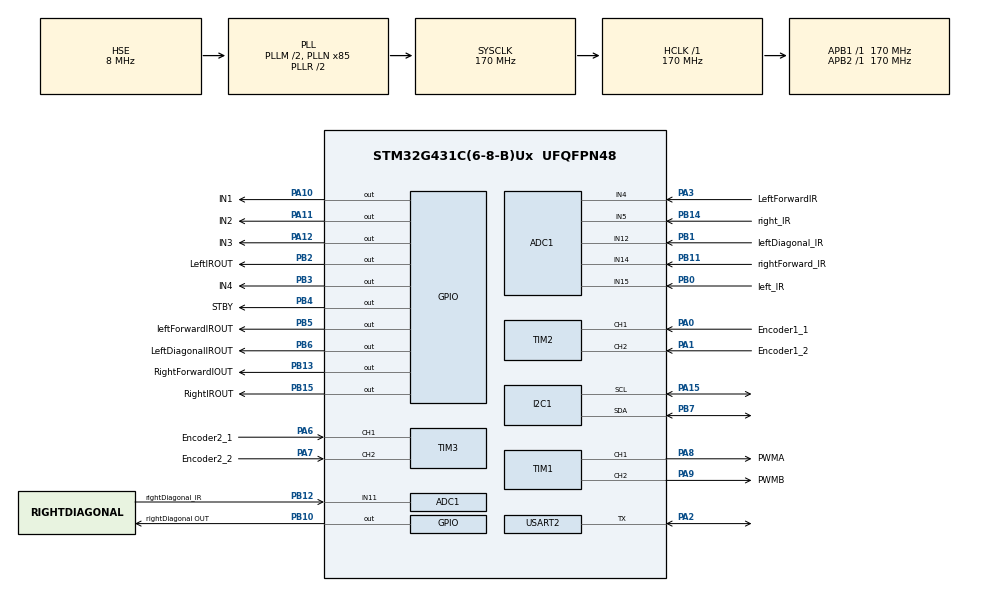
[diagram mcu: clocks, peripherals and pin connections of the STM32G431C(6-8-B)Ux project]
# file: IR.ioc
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ADC1.Channel-0\#ChannelRegularConversion=ADC_CHANNEL_12
ADC1.NbrOfConversionFlag=1
ADC1.OffsetNumber-0\#ChannelRegularConversion=ADC_OFFSET_NONE
ADC1.Rank-0\#ChannelRegularConversion=1
ADC1.SamplingTime-0\#ChannelRegularConversion=ADC_SAMPLETIME_47CYCLES_5
ADC1.master=1
I2C1.Timing=0x40B285C2
Mcu.Family=STM32G4
Mcu.Name=STM32G431C(6-8-B)Ux
Mcu.Package=UFQFPN48
NVIC.PriorityGroup=NVIC_PRIORITYGROUP_4
NVIC.TIM6_DAC_IRQn=true\:0\:0\:false\:false\:true\:true\:true\:true
PA0.GPIO_Label=Encoder1_1
PA0.Signal=S_TIM2_CH1
PA1.GPIO_Label=Encoder1_2
PA1.Signal=S_TIM2_CH2
PA10.GPIO_Label=IN1
PA10.Signal=GPIO_Output
PA11.GPIO_Label=IN2
PA11.Signal=GPIO_Output
PA12.GPIO_Label=IN3
PA12.Signal=GPIO_Output
PA13.Mode=Serial_Wire
PA13.Signal=SYS_JTMS-SWDIO
PA14.Mode=Serial_Wire
PA14.Signal=SYS_JTCK-SWCLK
PA15.Mode=I2C
PA15.Signal=I2C1_SCL
PA2.Mode=Half_duplex(single_wire_mode)
PA2.Signal=USART2_TX
PA3.GPIO_Label=LeftForwardIR
PA3.Mode=IN4-Single-Ended
PA3.Signal=ADC1_IN4
PA6.GPIO_Label=Encoder2_1
PA6.Signal=S_TIM3_CH1
PA7.GPIO_Label=Encoder2_2
PA7.Signal=S_TIM3_CH2
PA8.GPIO_Label=PWMA
PA8.Signal=S_TIM1_CH1
PA9.GPIO_Label=PWMB
PA9.Signal=S_TIM1_CH2
PB0.GPIO_Label=left_IR
PB0.Mode=IN15-Single-Ended
PB0.Signal=ADC1_IN15
PB1.GPIO_Label=leftDiagonal_IR
PB1.Signal=SharedAnalog_PB1
PB10.GPIO_Label=rightDiagonal OUT
PB10.GPIO_PuPd=GPIO_PULLDOWN
PB10.Signal=GPIO_Output
PB11.GPIO_Label=rightForward_IR
PB11.Signal=SharedAnalog_PB11
PB12.GPIO_Label=rightDiagonal_IR
PB12.Mode=IN11-Single-Ended
PB12.Signal=ADC1_IN11
PB13.GPIO_Label=RightForwardlOUT
PB13.GPIO_PuPd=GPIO_PULLDOWN
PB13.Signal=GPIO_Output
PB14.GPIO_Label=right_IR
PB14.Mode=IN5-Single-Ended
PB14.Signal=ADC1_IN5
PB15.GPIO_Label=RightIROUT
PB15.GPIO_PuPd=GPIO_PULLDOWN
PB15.Signal=GPIO_Output
PB2.GPIO_Label=LeftIROUT
PB2.GPIO_PuPd=GPIO_PULLDOWN
PB2.Signal=GPIO_Output
PB3.GPIO_Label=IN4
PB3.Signal=GPIO_Output
PB4.GPIO_Label=STBY
PB4.Signal=GPIO_Output
PB5.GPIO_Label=leftForwardIROUT
PB5.GPIO_PuPd=GPIO_PULLDOWN
PB5.Signal=GPIO_Output
PB6.GPIO_Label=LeftDiagonalIROUT
PB6.GPIO_PuPd=GPIO_PULLDOWN
PB6.Signal=GPIO_Output
PB7.Mode=I2C
PB7.Signal=I2C1_SDA
PF0-OSC_IN.Mode=HSE-External-Oscillator
PF0-OSC_IN.Signal=RCC_OSC_IN
PF1-OSC_OUT.Mode=HSE-External-Oscillator
PF1-OSC_OUT.Signal=RCC_OSC_OUT
ProjectManager.HeapSize=0x200
ProjectManager.StackSize=0x400
ProjectManager.TargetToolchain=STM32CubeIDE
RCC.ADC12Freq_Value=170000000
RCC.AHBFreq_Value=170000000
RCC.APB1Freq_Value=170000000
RCC.APB1TimFreq_Value=170000000
RCC.APB2Freq_Value=170000000
RCC.APB2TimFreq_Value=170000000
RCC.CortexFreq_Value=170000000
RCC.EXTERNAL_CLOCK_VALUE=12288000
RCC.HCLKFreq_Value=170000000
RCC.HSE_VALUE=8000000
RCC.HSI48_VALUE=48000000
RCC.HSI_VALUE=16000000
RCC.LSE_VALUE=32768
RCC.PLLM=RCC_PLLM_DIV2
RCC.PLLN=85
RCC.PLLSourceVirtual=RCC_PLLSOURCE_HSE
RCC.SYSCLKFreq_VALUE=170000000
RCC.SYSCLKSource=RCC_SYSCLKSOURCE_PLLCLK
RCC.USBFreq_Value=170000000
RCC.VCOOutputFreq_Value=340000000
SH.S_TIM1_CH1.0=TIM1_CH1,PWM Generation1 CH1
SH.S_TIM1_CH2.0=TIM1_CH2,PWM Generation2 CH2
SH.S_TIM2_CH1.0=TIM2_CH1,Encoder_Interface
SH.S_TIM2_CH2.0=TIM2_CH2,Encoder_Interface
SH.S_TIM3_CH1.0=TIM3_CH1,Encoder_Interface
SH.S_TIM3_CH2.0=TIM3_CH2,Encoder_Interface
SH.SharedAnalog_PB1.0=OPAMP3_VOUT
SH.SharedAnalog_PB1.1=ADC1_IN12,IN12-Single-Ended
SH.SharedAnalog_PB11.0=ADC2_IN14
SH.SharedAnalog_PB11.1=ADC1_IN14,IN14-Single-Ended
TIM1.Channel-PWM\ Generation1\ CH1=TIM_CHANNEL_1
TIM1.Channel-PWM\ Generation2\ CH2=TIM_CHANNEL_2
TIM6.AutoReloadPreload=TIM_AUTORELOAD_PRELOAD_ENABLE
TIM6.PeriodNoDither=1000-1
TIM6.Prescaler=170-1
USART2.VirtualMode-Half_duplex(single_wire_mode)=VM_ASYNC
VP_SYS_VS_DBSignals.Mode=DisableDeadBatterySignals
VP_TIM1_VS_ClockSourceINT.Mode=Internal
VP_TIM6_VS_ClockSourceINT.Mode=Enable_Timer
board=custom

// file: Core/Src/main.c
/* USER CODE BEGIN Header */
/**
  ******************************************************************************
  * @file           : main.c
  * @brief          : Main program body
  ******************************************************************************
  * @attention
  *
  * Copyright (c) 2026 STMicroelectronics.
  * All rights reserved.
  *
  * This software is licensed under terms that can be found in the LICENSE file
  * in the root directory of this software component.
  * If no LICENSE file comes with this software, it is provided AS-IS.
  *
  ******************************************************************************
  */
/* USER CODE END Header */
#include "main.h"

/* USER CODE BEGIN Includes */
#include "stdlib.h"
#include "stdio.h"
#include "String.h"
#include "irSensor.h"

/* USER CODE END Includes */

/* USER CODE BEGIN PTD */
typedef struct {
	uint16_t adc;
	uint16_t dist_mm;
} CalibPoint;

/* USER CODE END PTD */

/* USER CODE BEGIN PM */
#define CALIB_SIZE (sizeof(calib)/sizeof(calib[0]))

/* USER CODE END PM */

ADC_HandleTypeDef hadc1;

I2C_HandleTypeDef hi2c1;

TIM_HandleTypeDef htim1;
TIM_HandleTypeDef htim2;
TIM_HandleTypeDef htim3;
TIM_HandleTypeDef htim6;

UART_HandleTypeDef huart2;

/* USER CODE BEGIN PV */

char buffer[200];
uint16_t adc_pb0;
uint16_t adc_pb1;
uint16_t adc_pa3;
uint16_t adc_pb11;
uint16_t adc_pb12;
uint16_t adc_pb14;
uint16_t min =0;
uint16_t max =4096;
IR_Readings adc;
IR_Readings ir_min = {4095,4095,4095,4095,4095,4095};
IR_Readings ir_max = {0,0,0,0,0,0};
IR_Readings adcNorm;
CalibPoint calib[] = {
		{}

};

/* USER CODE END PV */

void SystemClock_Config(void);
static void MX_GPIO_Init(void);
static void MX_ADC1_Init(void);
static void MX_I2C1_Init(void);
static void MX_TIM1_Init(void);
static void MX_TIM2_Init(void);
static void MX_TIM3_Init(void);
static void MX_USART2_UART_Init(void);
static void MX_TIM6_Init(void);

/* USER CODE BEGIN 0 */
uint16_t adc_to_mm(uint16_t adc) {
// Out of range checks
	if (adc >= calib[0].adc) return calib[0].dist_mm;
	if (adc <= calib[CALIB_SIZE-1].adc) return 999; // no wall

	// Linear interpolation between points
	for (int i = 0; i < CALIB_SIZE - 1; i++) {
		if (adc <= calib[i].adc && adc >= calib[i+1].adc) {
			float t = (float)(calib[i].adc - adc) /
					  (float)(calib[i].adc - calib[i+1].adc);
			return calib[i].dist_mm +
				   (uint16_t)(t * (calib[i+1].dist_mm - calib[i].dist_mm));
		}
	}
	return 999;
}

//static inline int min(int a, int b)
//{
//    return (a < b) ? a : b;
//}
//
//static inline int max(int a, int b)
//{
//    return (a > b) ? a : b;
//}

void IR_UpdateMinMax(IR_Readings r)
{
    // LEFT FORWARD
    if (r.left_fwd < ir_min.left_fwd)
        ir_min.left_fwd = r.left_fwd;

    if (r.left_fwd > ir_max.left_fwd)
        ir_max.left_fwd = r.left_fwd;

    // LEFT
    if (r.left < ir_min.left)
        ir_min.left = r.left;

    if (r.left > ir_max.left)
        ir_max.left = r.left;

    // LEFT DIAGONAL
    if (r.left_diag < ir_min.left_diag)
        ir_min.left_diag = r.left_diag;

    if (r.left_diag > ir_max.left_diag)
        ir_max.left_diag = r.left_diag;

    // RIGHT FORWARD
    if (r.right_fwd < ir_min.right_fwd)
        ir_min.right_fwd = r.right_fwd;

    if (r.right_fwd > ir_max.right_fwd)
        ir_max.right_fwd = r.right_fwd;

    // RIGHT DIAGONAL
    if (r.right_diag < ir_min.right_diag)
        ir_min.right_diag = r.right_diag;

    if (r.right_diag > ir_max.right_diag)
        ir_max.right_diag = r.right_diag;

    // RIGHT
    if (r.right < ir_min.right)
        ir_min.right = r.right;

    if (r.right > ir_max.right)
        ir_max.right = r.right;
}

IR_Readings irReadNormalized(IR_Readings raw, IR_Readings irmin, IR_Readings irmax){
	IR_Readings adcNorm;
	adcNorm.left = (raw.left - irmin.left)*4000/(irmax.left-irmin.left);
	adcNorm.right = (raw.right - irmin.right)*4000/(irmax.right-irmin.right);
	adcNorm.left_diag = (raw.left_diag - irmin.left_diag)*4000/(irmax.left_diag-irmin.left_diag);
	adcNorm.left_fwd = (raw.left_fwd - irmin.left_fwd)*4000/(irmax.left_fwd-irmin.left_fwd);
	adcNorm.right_diag = (raw.right_diag - irmin.right_diag)*4000/(irmax.right_diag-irmin.right_diag);
	adcNorm.right_fwd = (raw.right_fwd - irmin.right_fwd)*4000/(irmax.right_fwd-irmin.right_fwd);

	return adcNorm;
}

/* USER CODE END 0 */

int main(void)
{

  /* MCU Configuration--------------------------------------------------------*/

  /* Reset of all peripherals, Initializes the Flash interface and the Systick. */
  HAL_Init();

  /* Configure the system clock */
  SystemClock_Config();

  /* Initialize all configured peripherals */
  MX_GPIO_Init();
  MX_ADC1_Init();
  MX_I2C1_Init();
  MX_TIM1_Init();
  MX_TIM2_Init();
  MX_TIM3_Init();
  MX_USART2_UART_Init();
  MX_TIM6_Init();
  /* USER CODE BEGIN 2 */
  HAL_TIM_Base_Start_IT(&htim6);
  for (int i = 0; i < 1000; i++)
  {
      adc = IR_GetReadings();
      IR_UpdateMinMax(adc);
      HAL_Delay(2);  // small delay
  }

  /* USER CODE END 2 */

  /* Infinite loop */
  /* USER CODE BEGIN WHILE */
  while (1)
  {
	  adc = IR_GetReadings();
	  adcNorm = irReadNormalized(adc, ir_min, ir_max);

	  sprintf(buffer,
			  "min:%4u LS:%4u LD:%4u LF:%4u RF:%4u RD:%4u RS:%4u max:%4u\r\n",
			  min,
			  adcNorm.left,
			  adcNorm.left_diag,
			  adcNorm.left_fwd,
			  adcNorm.right,
			  adcNorm.right_diag,
			  adcNorm.right_fwd,
			  max);

	  HAL_UART_Transmit(&huart2,
						(uint8_t*)buffer,
						strlen(buffer),
						HAL_MAX_DELAY);

    /* USER CODE END WHILE */

  }
}

void SystemClock_Config(void)
{
  RCC_OscInitTypeDef RCC_OscInitStruct = {0};
  RCC_ClkInitTypeDef RCC_ClkInitStruct = {0};

  /** Configure the main internal regulator output voltage
  */
  HAL_PWREx_ControlVoltageScaling(PWR_REGULATOR_VOLTAGE_SCALE1_BOOST);

  /** Initializes the RCC Oscillators according to the specified parameters
  * in the RCC_OscInitTypeDef structure.
  */
  RCC_OscInitStruct.OscillatorType = RCC_OSCILLATORTYPE_HSE;
  RCC_OscInitStruct.HSEState = RCC_HSE_ON;
  RCC_OscInitStruct.PLL.PLLState = RCC_PLL_ON;
  RCC_OscInitStruct.PLL.PLLSource = RCC_PLLSOURCE_HSE;
  RCC_OscInitStruct.PLL.PLLM = RCC_PLLM_DIV2;
  RCC_OscInitStruct.PLL.PLLN = 85;
  RCC_OscInitStruct.PLL.PLLP = RCC_PLLP_DIV2;
  RCC_OscInitStruct.PLL.PLLQ = RCC_PLLQ_DIV2;
  RCC_OscInitStruct.PLL.PLLR = RCC_PLLR_DIV2;
  if (HAL_RCC_OscConfig(&RCC_OscInitStruct) != HAL_OK)
  {
    Error_Handler();
  }

  /** Initializes the CPU, AHB and APB buses clocks
  */
  RCC_ClkInitStruct.ClockType = RCC_CLOCKTYPE_HCLK|RCC_CLOCKTYPE_SYSCLK
                              |RCC_CLOCKTYPE_PCLK1|RCC_CLOCKTYPE_PCLK2;
  RCC_ClkInitStruct.SYSCLKSource = RCC_SYSCLKSOURCE_PLLCLK;
  RCC_ClkInitStruct.AHBCLKDivider = RCC_SYSCLK_DIV1;
  RCC_ClkInitStruct.APB1CLKDivider = RCC_HCLK_DIV1;
  RCC_ClkInitStruct.APB2CLKDivider = RCC_HCLK_DIV1;

  if (HAL_RCC_ClockConfig(&RCC_ClkInitStruct, FLASH_LATENCY_4) != HAL_OK)
  {
    Error_Handler();
  }
}

static void MX_ADC1_Init(void)
{

  ADC_MultiModeTypeDef multimode = {0};
  ADC_ChannelConfTypeDef sConfig = {0};

  /** Common config
  */
  hadc1.Instance = ADC1;
  hadc1.Init.ClockPrescaler = ADC_CLOCK_SYNC_PCLK_DIV4;
  hadc1.Init.Resolution = ADC_RESOLUTION_12B;
  hadc1.Init.DataAlign = ADC_DATAALIGN_RIGHT;
  hadc1.Init.GainCompensation = 0;
  hadc1.Init.ScanConvMode = ADC_SCAN_DISABLE;
  hadc1.Init.EOCSelection = ADC_EOC_SINGLE_CONV;
  hadc1.Init.LowPowerAutoWait = DISABLE;
  hadc1.Init.ContinuousConvMode = DISABLE;
  hadc1.Init.NbrOfConversion = 1;
  hadc1.Init.DiscontinuousConvMode = DISABLE;
  hadc1.Init.ExternalTrigConv = ADC_SOFTWARE_START;
  hadc1.Init.ExternalTrigConvEdge = ADC_EXTERNALTRIGCONVEDGE_NONE;
  hadc1.Init.DMAContinuousRequests = DISABLE;
  hadc1.Init.Overrun = ADC_OVR_DATA_PRESERVED;
  hadc1.Init.OversamplingMode = DISABLE;
  if (HAL_ADC_Init(&hadc1) != HAL_OK)
  {
    Error_Handler();
  }

  /** Configure the ADC multi-mode
  */
  multimode.Mode = ADC_MODE_INDEPENDENT;
  if (HAL_ADCEx_MultiModeConfigChannel(&hadc1, &multimode) != HAL_OK)
  {
    Error_Handler();
  }

  /** Configure Regular Channel
  */
  sConfig.Channel = ADC_CHANNEL_12;
  sConfig.Rank = ADC_REGULAR_RANK_1;
  sConfig.SamplingTime = ADC_SAMPLETIME_47CYCLES_5;
  sConfig.SingleDiff = ADC_SINGLE_ENDED;
  sConfig.OffsetNumber = ADC_OFFSET_NONE;
  sConfig.Offset = 0;
  if (HAL_ADC_ConfigChannel(&hadc1, &sConfig) != HAL_OK)
  {
    Error_Handler();
  }

}

static void MX_I2C1_Init(void)
{

  hi2c1.Instance = I2C1;
  hi2c1.Init.Timing = 0x40B285C2;
  hi2c1.Init.OwnAddress1 = 0;
  hi2c1.Init.AddressingMode = I2C_ADDRESSINGMODE_7BIT;
  hi2c1.Init.DualAddressMode = I2C_DUALADDRESS_DISABLE;
  hi2c1.Init.OwnAddress2 = 0;
  hi2c1.Init.OwnAddress2Masks = I2C_OA2_NOMASK;
  hi2c1.Init.GeneralCallMode = I2C_GENERALCALL_DISABLE;
  hi2c1.Init.NoStretchMode = I2C_NOSTRETCH_DISABLE;
  if (HAL_I2C_Init(&hi2c1) != HAL_OK)
  {
    Error_Handler();
  }

  /** Configure Analogue filter
  */
  if (HAL_I2CEx_ConfigAnalogFilter(&hi2c1, I2C_ANALOGFILTER_ENABLE) != HAL_OK)
  {
    Error_Handler();
  }

  /** Configure Digital filter
  */
  if (HAL_I2CEx_ConfigDigitalFilter(&hi2c1, 0) != HAL_OK)
  {
    Error_Handler();
  }

}

static void MX_TIM1_Init(void)
{

  TIM_ClockConfigTypeDef sClockSourceConfig = {0};
  TIM_MasterConfigTypeDef sMasterConfig = {0};
  TIM_OC_InitTypeDef sConfigOC = {0};
  TIM_BreakDeadTimeConfigTypeDef sBreakDeadTimeConfig = {0};

  htim1.Instance = TIM1;
  htim1.Init.Prescaler = 0;
  htim1.Init.CounterMode = TIM_COUNTERMODE_UP;
  htim1.Init.Period = 65535;
  htim1.Init.ClockDivision = TIM_CLOCKDIVISION_DIV1;
  htim1.Init.RepetitionCounter = 0;
  htim1.Init.AutoReloadPreload = TIM_AUTORELOAD_PRELOAD_DISABLE;
  if (HAL_TIM_Base_Init(&htim1) != HAL_OK)
  {
    Error_Handler();
  }
  sClockSourceConfig.ClockSource = TIM_CLOCKSOURCE_INTERNAL;
  if (HAL_TIM_ConfigClockSource(&htim1, &sClockSourceConfig) != HAL_OK)
  {
    Error_Handler();
  }
  if (HAL_TIM_PWM_Init(&htim1) != HAL_OK)
  {
    Error_Handler();
  }
  sMasterConfig.MasterOutputTrigger = TIM_TRGO_RESET;
  sMasterConfig.MasterOutputTrigger2 = TIM_TRGO2_RESET;
  sMasterConfig.MasterSlaveMode = TIM_MASTERSLAVEMODE_DISABLE;
  if (HAL_TIMEx_MasterConfigSynchronization(&htim1, &sMasterConfig) != HAL_OK)
  {
    Error_Handler();
  }
  sConfigOC.OCMode = TIM_OCMODE_PWM1;
  sConfigOC.Pulse = 0;
  sConfigOC.OCPolarity = TIM_OCPOLARITY_HIGH;
  sConfigOC.OCNPolarity = TIM_OCNPOLARITY_HIGH;
  sConfigOC.OCFastMode = TIM_OCFAST_DISABLE;
  sConfigOC.OCIdleState = TIM_OCIDLESTATE_RESET;
  sConfigOC.OCNIdleState = TIM_OCNIDLESTATE_RESET;
  if (HAL_TIM_PWM_ConfigChannel(&htim1, &sConfigOC, TIM_CHANNEL_1) != HAL_OK)
  {
    Error_Handler();
  }
  if (HAL_TIM_PWM_ConfigChannel(&htim1, &sConfigOC, TIM_CHANNEL_2) != HAL_OK)
  {
    Error_Handler();
  }
  sBreakDeadTimeConfig.OffStateRunMode = TIM_OSSR_DISABLE;
  sBreakDeadTimeConfig.OffStateIDLEMode = TIM_OSSI_DISABLE;
  sBreakDeadTimeConfig.LockLevel = TIM_LOCKLEVEL_OFF;
  sBreakDeadTimeConfig.DeadTime = 0;
  sBreakDeadTimeConfig.BreakState = TIM_BREAK_DISABLE;
  sBreakDeadTimeConfig.BreakPolarity = TIM_BREAKPOLARITY_HIGH;
  sBreakDeadTimeConfig.BreakFilter = 0;
  sBreakDeadTimeConfig.BreakAFMode = TIM_BREAK_AFMODE_INPUT;
  sBreakDeadTimeConfig.Break2State = TIM_BREAK2_DISABLE;
  sBreakDeadTimeConfig.Break2Polarity = TIM_BREAK2POLARITY_HIGH;
  sBreakDeadTimeConfig.Break2Filter = 0;
  sBreakDeadTimeConfig.Break2AFMode = TIM_BREAK_AFMODE_INPUT;
  sBreakDeadTimeConfig.AutomaticOutput = TIM_AUTOMATICOUTPUT_DISABLE;
  if (HAL_TIMEx_ConfigBreakDeadTime(&htim1, &sBreakDeadTimeConfig) != HAL_OK)
  {
    Error_Handler();
  }
  HAL_TIM_MspPostInit(&htim1);

}

static void MX_TIM2_Init(void)
{

  TIM_Encoder_InitTypeDef sConfig = {0};
  TIM_MasterConfigTypeDef sMasterConfig = {0};

  htim2.Instance = TIM2;
  htim2.Init.Prescaler = 0;
  htim2.Init.CounterMode = TIM_COUNTERMODE_UP;
  htim2.Init.Period = 4294967295;
  htim2.Init.ClockDivision = TIM_CLOCKDIVISION_DIV1;
  htim2.Init.AutoReloadPreload = TIM_AUTORELOAD_PRELOAD_DISABLE;
  sConfig.EncoderMode = TIM_ENCODERMODE_TI1;
  sConfig.IC1Polarity = TIM_ICPOLARITY_RISING;
  sConfig.IC1Selection = TIM_ICSELECTION_DIRECTTI;
  sConfig.IC1Prescaler = TIM_ICPSC_DIV1;
  sConfig.IC1Filter = 0;
  sConfig.IC2Polarity = TIM_ICPOLARITY_RISING;
  sConfig.IC2Selection = TIM_ICSELECTION_DIRECTTI;
  sConfig.IC2Prescaler = TIM_ICPSC_DIV1;
  sConfig.IC2Filter = 0;
  if (HAL_TIM_Encoder_Init(&htim2, &sConfig) != HAL_OK)
  {
    Error_Handler();
  }
  sMasterConfig.MasterOutputTrigger = TIM_TRGO_RESET;
  sMasterConfig.MasterSlaveMode = TIM_MASTERSLAVEMODE_DISABLE;
  if (HAL_TIMEx_MasterConfigSynchronization(&htim2, &sMasterConfig) != HAL_OK)
  {
    Error_Handler();
  }

}

static void MX_TIM3_Init(void)
{

  TIM_Encoder_InitTypeDef sConfig = {0};
  TIM_MasterConfigTypeDef sMasterConfig = {0};

  htim3.Instance = TIM3;
  htim3.Init.Prescaler = 0;
  htim3.Init.CounterMode = TIM_COUNTERMODE_UP;
  htim3.Init.Period = 65535;
  htim3.Init.ClockDivision = TIM_CLOCKDIVISION_DIV1;
  htim3.Init.AutoReloadPreload = TIM_AUTORELOAD_PRELOAD_DISABLE;
  sConfig.EncoderMode = TIM_ENCODERMODE_TI1;
  sConfig.IC1Polarity = TIM_ICPOLARITY_RISING;
  sConfig.IC1Selection = TIM_ICSELECTION_DIRECTTI;
  sConfig.IC1Prescaler = TIM_ICPSC_DIV1;
  sConfig.IC1Filter = 0;
  sConfig.IC2Polarity = TIM_ICPOLARITY_RISING;
  sConfig.IC2Selection = TIM_ICSELECTION_DIRECTTI;
  sConfig.IC2Prescaler = TIM_ICPSC_DIV1;
  sConfig.IC2Filter = 0;
  if (HAL_TIM_Encoder_Init(&htim3, &sConfig) != HAL_OK)
  {
    Error_Handler();
  }
  sMasterConfig.MasterOutputTrigger = TIM_TRGO_RESET;
  sMasterConfig.MasterSlaveMode = TIM_MASTERSLAVEMODE_DISABLE;
  if (HAL_TIMEx_MasterConfigSynchronization(&htim3, &sMasterConfig) != HAL_OK)
  {
    Error_Handler();
  }

}

static void MX_TIM6_Init(void)
{

  TIM_MasterConfigTypeDef sMasterConfig = {0};

  htim6.Instance = TIM6;
  htim6.Init.Prescaler = 170-1;
  htim6.Init.CounterMode = TIM_COUNTERMODE_UP;
  htim6.Init.Period = 999;
  htim6.Init.AutoReloadPreload = TIM_AUTORELOAD_PRELOAD_ENABLE;
  if (HAL_TIM_Base_Init(&htim6) != HAL_OK)
  {
    Error_Handler();
  }
  sMasterConfig.MasterOutputTrigger = TIM_TRGO_RESET;
  sMasterConfig.MasterSlaveMode = TIM_MASTERSLAVEMODE_DISABLE;
  if (HAL_TIMEx_MasterConfigSynchronization(&htim6, &sMasterConfig) != HAL_OK)
  {
    Error_Handler();
  }

}

static void MX_USART2_UART_Init(void)
{

  huart2.Instance = USART2;
  huart2.Init.BaudRate = 115200;
  huart2.Init.WordLength = UART_WORDLENGTH_8B;
  huart2.Init.StopBits = UART_STOPBITS_1;
  huart2.Init.Parity = UART_PARITY_NONE;
  huart2.Init.Mode = UART_MODE_TX_RX;
  huart2.Init.HwFlowCtl = UART_HWCONTROL_NONE;
  huart2.Init.OverSampling = UART_OVERSAMPLING_16;
  huart2.Init.OneBitSampling = UART_ONE_BIT_SAMPLE_DISABLE;
  huart2.Init.ClockPrescaler = UART_PRESCALER_DIV1;
  huart2.AdvancedInit.AdvFeatureInit = UART_ADVFEATURE_NO_INIT;
  if (HAL_HalfDuplex_Init(&huart2) != HAL_OK)
  {
    Error_Handler();
  }
  if (HAL_UARTEx_SetTxFifoThreshold(&huart2, UART_TXFIFO_THRESHOLD_1_8) != HAL_OK)
  {
    Error_Handler();
  }
  if (HAL_UARTEx_SetRxFifoThreshold(&huart2, UART_RXFIFO_THRESHOLD_1_8) != HAL_OK)
  {
    Error_Handler();
  }
  if (HAL_UARTEx_DisableFifoMode(&huart2) != HAL_OK)
  {
    Error_Handler();
  }

}

static void MX_GPIO_Init(void)
{
  GPIO_InitTypeDef GPIO_InitStruct = {0};

  /* GPIO Ports Clock Enable */
  __HAL_RCC_GPIOF_CLK_ENABLE();
  __HAL_RCC_GPIOA_CLK_ENABLE();
  __HAL_RCC_GPIOB_CLK_ENABLE();

  /*Configure GPIO pin Output Level */
  HAL_GPIO_WritePin(GPIOB, LeftIROUT_Pin|rightDiagonal_OUT_Pin|RightForwardlOUT_Pin|RightIROUT_Pin
                          |IN4_Pin|STBY_Pin|leftForwardIROUT_Pin|LeftDiagonalIROUT_Pin, GPIO_PIN_RESET);

  /*Configure GPIO pin Output Level */
  HAL_GPIO_WritePin(GPIOA, IN1_Pin|IN2_Pin|IN3_Pin, GPIO_PIN_RESET);

  /*Configure GPIO pins : leftDiagonal_IR_Pin rightForward_IR_Pin */
  GPIO_InitStruct.Pin = leftDiagonal_IR_Pin|rightForward_IR_Pin;
  GPIO_InitStruct.Mode = GPIO_MODE_ANALOG;
  GPIO_InitStruct.Pull = GPIO_NOPULL;
  HAL_GPIO_Init(GPIOB, &GPIO_InitStruct);

  /*Configure GPIO pins : LeftIROUT_Pin rightDiagonal_OUT_Pin RightForwardlOUT_Pin RightIROUT_Pin
                           leftForwardIROUT_Pin LeftDiagonalIROUT_Pin */
  GPIO_InitStruct.Pin = LeftIROUT_Pin|rightDiagonal_OUT_Pin|RightForwardlOUT_Pin|RightIROUT_Pin
                          |leftForwardIROUT_Pin|LeftDiagonalIROUT_Pin;
  GPIO_InitStruct.Mode = GPIO_MODE_OUTPUT_PP;
  GPIO_InitStruct.Pull = GPIO_PULLDOWN;
  GPIO_InitStruct.Speed = GPIO_SPEED_FREQ_LOW;
  HAL_GPIO_Init(GPIOB, &GPIO_InitStruct);

  /*Configure GPIO pins : IN1_Pin IN2_Pin IN3_Pin */
  GPIO_InitStruct.Pin = IN1_Pin|IN2_Pin|IN3_Pin;
  GPIO_InitStruct.Mode = GPIO_MODE_OUTPUT_PP;
  GPIO_InitStruct.Pull = GPIO_NOPULL;
  GPIO_InitStruct.Speed = GPIO_SPEED_FREQ_LOW;
  HAL_GPIO_Init(GPIOA, &GPIO_InitStruct);

  /*Configure GPIO pins : IN4_Pin STBY_Pin */
  GPIO_InitStruct.Pin = IN4_Pin|STBY_Pin;
  GPIO_InitStruct.Mode = GPIO_MODE_OUTPUT_PP;
  GPIO_InitStruct.Pull = GPIO_NOPULL;
  GPIO_InitStruct.Speed = GPIO_SPEED_FREQ_LOW;
  HAL_GPIO_Init(GPIOB, &GPIO_InitStruct);

}

/* USER CODE BEGIN 4 */
void HAL_TIM_PeriodElapsedCallback(TIM_HandleTypeDef *htim)
{
    if (htim->Instance == TIM6)
    {
        IR_TimerCallback(htim);
    }
}

/* USER CODE END 4 */

void Error_Handler(void)
{
  __disable_irq();
  while (1)
  {
  }
}
